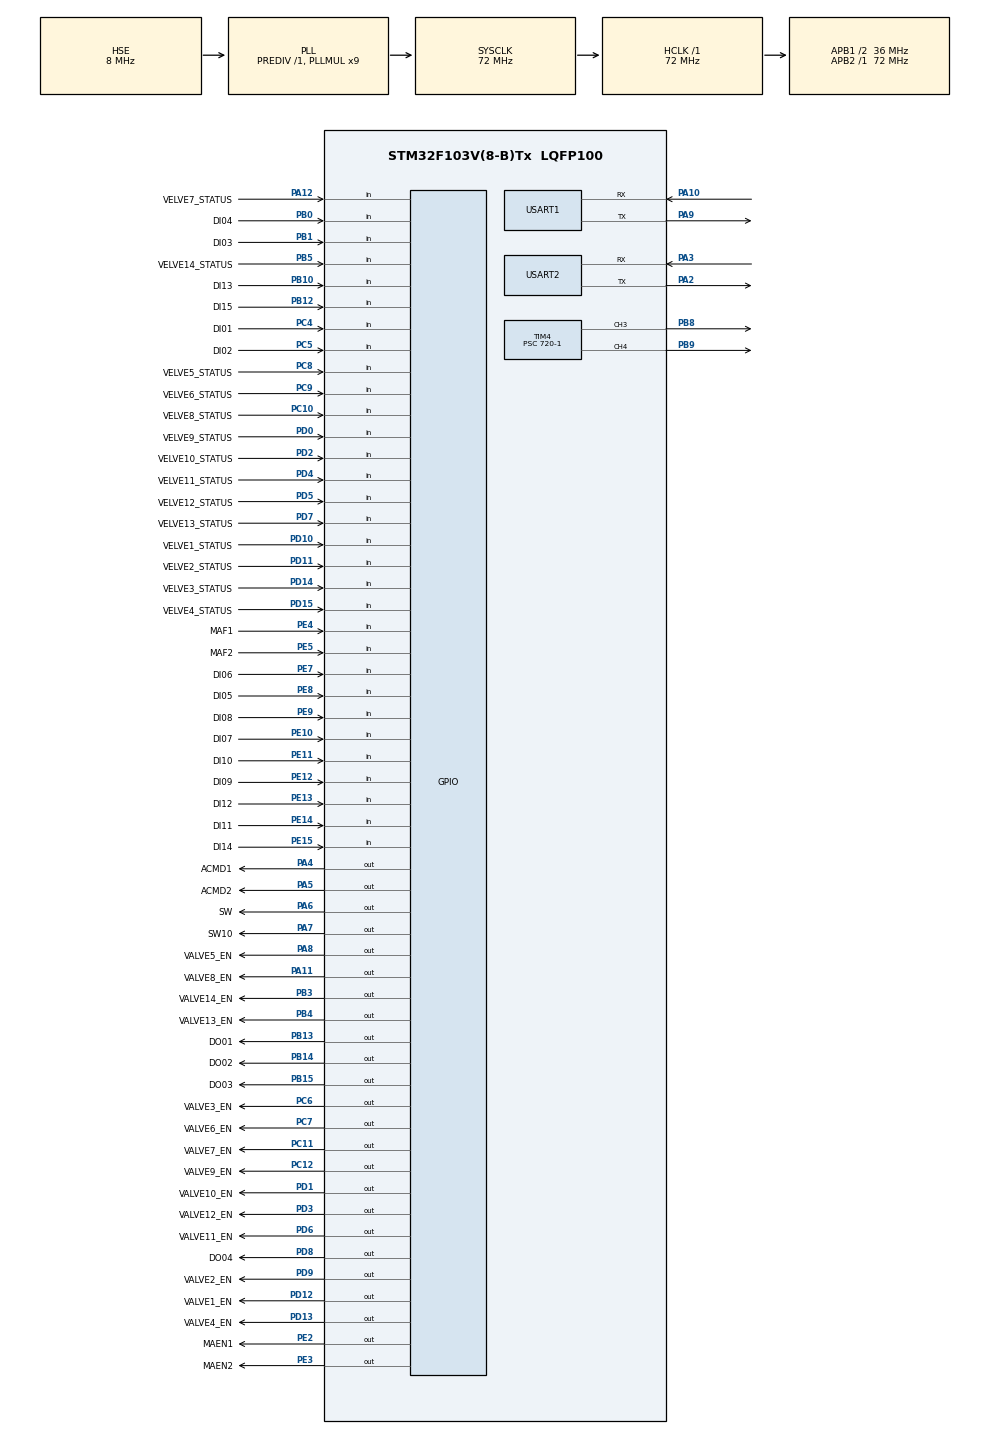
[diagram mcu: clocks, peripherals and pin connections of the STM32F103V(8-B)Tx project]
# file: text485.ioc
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Mcu.Family=STM32F1
Mcu.Name=STM32F103V(8-B)Tx
Mcu.Package=LQFP100
NVIC.PriorityGroup=NVIC_PRIORITYGROUP_4
NVIC.USART2_IRQn=true\:0\:0\:false\:false\:true\:true\:true
OSC_IN.Mode=HSE-External-Oscillator
OSC_IN.Signal=RCC_OSC_IN
OSC_OUT.Mode=HSE-External-Oscillator
OSC_OUT.Signal=RCC_OSC_OUT
PA10.Mode=Asynchronous
PA10.Signal=USART1_RX
PA11.GPIO_Label=VALVE8_EN
PA11.PinState=GPIO_PIN_SET
PA11.Signal=GPIO_Output
PA12.GPIO_Label=VELVE7_STATUS
PA12.Signal=GPIO_Input
PA13.Mode=Serial_Wire
PA13.Signal=SYS_JTMS-SWDIO
PA14.Mode=Serial_Wire
PA14.Signal=SYS_JTCK-SWCLK
PA2.Mode=Asynchronous
PA2.Signal=USART2_TX
PA3.Mode=Asynchronous
PA3.Signal=USART2_RX
PA4.GPIO_Label=ACMD1
PA4.PinState=GPIO_PIN_SET
PA4.Signal=GPIO_Output
PA5.GPIO_Label=ACMD2
PA5.PinState=GPIO_PIN_SET
PA5.Signal=GPIO_Output
PA6.GPIO_Label=SW
PA6.PinState=GPIO_PIN_SET
PA6.Signal=GPIO_Output
PA7.GPIO_Label=SW10
PA7.PinState=GPIO_PIN_SET
PA7.Signal=GPIO_Output
PA8.GPIO_Label=VALVE5_EN
PA8.PinState=GPIO_PIN_SET
PA8.Signal=GPIO_Output
PA9.Mode=Asynchronous
PA9.Signal=USART1_TX
PB0.GPIO_Label=DI04
PB0.Signal=GPIO_Input
PB1.GPIO_Label=DI03
PB1.Signal=GPIO_Input
PB10.GPIO_Label=DI13
PB10.GPIO_PuPd=GPIO_NOPULL
PB10.Signal=GPIO_Input
PB12.GPIO_Label=DI15
PB12.Signal=GPIO_Input
PB13.GPIO_Label=DO01
PB13.PinState=GPIO_PIN_SET
PB13.Signal=GPIO_Output
PB14.GPIO_Label=DO02
PB14.PinState=GPIO_PIN_SET
PB14.Signal=GPIO_Output
PB15.GPIO_Label=DO03
PB15.PinState=GPIO_PIN_SET
PB15.Signal=GPIO_Output
PB3.GPIO_Label=VALVE14_EN
PB3.PinState=GPIO_PIN_SET
PB3.Signal=GPIO_Output
PB4.GPIO_Label=VALVE13_EN
PB4.PinState=GPIO_PIN_SET
PB4.Signal=GPIO_Output
PB5.GPIO_Label=VELVE14_STATUS
PB5.Signal=GPIO_Input
PB8.Signal=S_TIM4_CH3
PB9.Signal=S_TIM4_CH4
PC10.GPIO_Label=VELVE8_STATUS
PC10.Signal=GPIO_Input
PC11.GPIO_Label=VALVE7_EN
PC11.PinState=GPIO_PIN_SET
PC11.Signal=GPIO_Output
PC12.GPIO_Label=VALVE9_EN
PC12.PinState=GPIO_PIN_SET
PC12.Signal=GPIO_Output
PC4.GPIO_Label=DI01
PC4.Signal=GPIO_Input
PC5.GPIO_Label=DI02
PC5.Signal=GPIO_Input
PC6.GPIO_Label=VALVE3_EN
PC6.PinState=GPIO_PIN_SET
PC6.Signal=GPIO_Output
PC7.GPIO_Label=VALVE6_EN
PC7.PinState=GPIO_PIN_SET
PC7.Signal=GPIO_Output
PC8.GPIO_Label=VELVE5_STATUS
PC8.Signal=GPIO_Input
PC9.GPIO_Label=VELVE6_STATUS
PC9.Signal=GPIO_Input
PD0.GPIO_Label=VELVE9_STATUS
PD0.Signal=GPIO_Input
PD1.GPIO_Label=VALVE10_EN
PD1.PinState=GPIO_PIN_SET
PD1.Signal=GPIO_Output
PD10.GPIO_Label=VELVE1_STATUS
PD10.Signal=GPIO_Input
PD11.GPIO_Label=VELVE2_STATUS
PD11.Signal=GPIO_Input
PD12.GPIO_Label=VALVE1_EN
PD12.GPIO_ModeDefaultOutputPP=GPIO_MODE_OUTPUT_PP
PD12.PinState=GPIO_PIN_SET
PD12.Signal=GPIO_Output
PD13.GPIO_Label=VALVE4_EN
PD13.PinState=GPIO_PIN_SET
PD13.Signal=GPIO_Output
PD14.GPIO_Label=VELVE3_STATUS
PD14.Signal=GPIO_Input
PD15.GPIO_Label=VELVE4_STATUS
PD15.Signal=GPIO_Input
PD2.GPIO_Label=VELVE10_STATUS
PD2.Signal=GPIO_Input
PD3.GPIO_Label=VALVE12_EN
PD3.PinState=GPIO_PIN_SET
PD3.Signal=GPIO_Output
PD4.GPIO_Label=VELVE11_STATUS
PD4.Signal=GPIO_Input
PD5.GPIO_Label=VELVE12_STATUS
PD5.Signal=GPIO_Input
PD6.GPIO_Label=VALVE11_EN
PD6.PinState=GPIO_PIN_SET
PD6.Signal=GPIO_Output
PD7.GPIO_Label=VELVE13_STATUS
PD7.Signal=GPIO_Input
PD8.GPIO_Label=DO04
PD8.PinState=GPIO_PIN_SET
PD8.Signal=GPIO_Output
PD9.GPIO_Label=VALVE2_EN
PD9.PinState=GPIO_PIN_SET
PD9.Signal=GPIO_Output
PE10.GPIO_Label=DI07
PE10.Signal=GPIO_Input
PE11.GPIO_Label=DI10
PE11.Signal=GPIO_Input
PE12.GPIO_Label=DI09
PE12.Signal=GPIO_Input
PE13.GPIO_Label=DI12
PE13.Signal=GPIO_Input
PE14.GPIO_Label=DI11
PE14.Signal=GPIO_Input
PE15.GPIO_Label=DI14
PE15.Signal=GPIO_Input
PE2.GPIO_Label=MAEN1
PE2.PinState=GPIO_PIN_SET
PE2.Signal=GPIO_Output
PE3.GPIO_Label=MAEN2
PE3.PinState=GPIO_PIN_SET
PE3.Signal=GPIO_Output
PE4.GPIO_Label=MAF1
PE4.Signal=GPIO_Input
PE5.GPIO_Label=MAF2
PE5.Signal=GPIO_Input
PE7.GPIO_Label=DI06
PE7.Signal=GPIO_Input
PE8.GPIO_Label=DI05
PE8.Signal=GPIO_Input
PE9.GPIO_Label=DI08
PE9.Signal=GPIO_Input
ProjectManager.HeapSize=0x200
ProjectManager.StackSize=0x400
ProjectManager.TargetToolchain=MDK-ARM V5.27
RCC.AHBFreq_Value=72000000
RCC.APB1CLKDivider=RCC_HCLK_DIV2
RCC.APB1Freq_Value=36000000
RCC.APB1TimFreq_Value=72000000
RCC.APB2Freq_Value=72000000
RCC.APB2TimFreq_Value=72000000
RCC.HCLKFreq_Value=72000000
RCC.PLLMUL=RCC_PLL_MUL9
RCC.PLLSourceVirtual=RCC_PLLSOURCE_HSE
RCC.SYSCLKFreq_VALUE=72000000
RCC.SYSCLKSource=RCC_SYSCLKSOURCE_PLLCLK
RCC.TimSys_Div=SYSTICK_CLKSOURCE_HCLK_DIV8
RCC.USBFreq_Value=72000000
SH.S_TIM4_CH3.0=TIM4_CH3,PWM Generation3 CH3
SH.S_TIM4_CH4.0=TIM4_CH4,PWM Generation4 CH4
TIM4.Channel-PWM\ Generation3\ CH3=TIM_CHANNEL_3
TIM4.Channel-PWM\ Generation4\ CH4=TIM_CHANNEL_4
TIM4.OC3Preload_PWM=DISABLE
TIM4.OC4Preload_PWM=DISABLE
TIM4.Period=2000-1
TIM4.Prescaler=720-1
USART1.VirtualMode=VM_ASYNC
USART2.VirtualMode=VM_ASYNC
board=custom

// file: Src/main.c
/* USER CODE BEGIN Header */
/**
  ******************************************************************************
  * @file           : main.c
  * @brief          : Main program body
  ******************************************************************************
  * @attention
  *
  * <h2><center>&copy; Copyright (c) 2020 STMicroelectronics.
  * All rights reserved.</center></h2>
  *
  * This software component is licensed by ST under BSD 3-Clause license,
  * the "License"; You may not use this file except in compliance with the
  * License. You may obtain a copy of the License at:
  *                        opensource.org/licenses/BSD-3-Clause
  *
  ******************************************************************************
  */
/* USER CODE END Header */

#include "main.h"

/* USER CODE BEGIN Includes */
#include <stdio.h>
#include "string.h"
#include "control.h"

#include "stdlib.h"

/* USER CODE END Includes */

TIM_HandleTypeDef htim4;

UART_HandleTypeDef huart1;
UART_HandleTypeDef huart2;

void SystemClock_Config(void);
static void MX_GPIO_Init(void);
static void MX_USART1_UART_Init(void);
static void MX_USART2_UART_Init(void);
static void MX_TIM4_Init(void);

/* USER CODE BEGIN 0 */
#ifdef _GNUC_
/* With  GCC/RAISONANCE,small printf(option LD Linker ->Libraries -> Small printf
	set to 'Yes')calls _io putchar() */
#define PUTCHAR_PROTOTYPE int _io_putchar(int ch)
#else
#define PUTCHAR_PROTOTYPE int fputc(int ch, FILE *f)
#endif /* _GNUC_ */

/* implementation of fputc  */
PUTCHAR_PROTOTYPE {
    HAL_UART_Transmit(&huart1, (uint8_t *) &ch, 1, 0xffff);
    return ch;
}

//定义Uart2的变量

uint8_t UartRxData;				  //接受一个字节数据
char UartRxBuf[128];			  //接收一个128字节的数组
uint8_t UartRxCount =0;			//接收计数位
_Bool UartRxFlag;				    //接收标志位

uint8_t UartTxNum =1;				//485发送值为1，默认处于接收状态
char *g_cNum =NULL;
int res;                    //返回指令信号
uint8_t stares =1;					//获得的一个状态值用485发送
int num, wnum, onum;
uint8_t port;								//DI端口号
int flag;

/* USER CODE END 0 */

int main(void)
{

    /* MCU Configuration--------------------------------------------------------*/

    /* Reset of all peripherals, Initializes the Flash interface and the Systick. */
    HAL_Init();

    /* USER CODE BEGIN Init */
    int value =0;
    int p_value =0;

    /* USER CODE END Init */

    /* Configure the system clock */
    SystemClock_Config();

    /* Initialize all configured peripherals */
    MX_GPIO_Init();
    MX_USART1_UART_Init();
    MX_USART2_UART_Init();
    MX_TIM4_Init();
    /* USER CODE BEGIN 2 */

    //使能Uart2的中断使能，并在中断使能后产生中断
    HAL_UART_Receive_IT(&huart2, &UartRxData, 1);
    HAL_Delay(50);
    //接收模式
    HAL_UART_Transmit(&huart2, &UartTxNum, 1, 10);
    printf("hello\r\n");

    /* USER CODE END 2 */

    /* Infinite loop */
    while (1)
    {

        /* USER CODE BEGIN 3 */
        value = getGpioFun();									//查询检测io口

        if((value & 0xffff0000) != 0x7fff)
        {
            int i =0;

            value = ~(value & 0x7fff);					//取出IO口的值
            if(p_value != value)								//防止重复执行发送
            {
                p_value = value;
                for(i=0; i<15; i++)
                {
                    if(!(value & (0x01 << i)))
                    {
                        port++;
                    }
                    else
                    {
                        port = ((port+1) << 4) | 0x0d;
                        printf("0x%x\r\n", port);
                        HAL_UART_Transmit(&huart2, &port, 1, 0xffff);				//用485发送io口的返回值
                        port =0;
                        value =0;
//						HAL_UART_Transmit(&huart2, &UartTxNum, 1, 0xffff);
                        break;
                    }
                }
            }
        }
        port  =0;
        value =0;

        if(UartRxFlag == 1 && *UartRxBuf)						//打印485接收到的信息内容
        {
            MX_GPIO_Init();							//重置端口
            HAL_Delay(100);

            float revalue =0.0;
            onum =atoi(UartRxBuf);
            num  =((onum >> 4) & 0x1f);
            wnum =(onum & 0xf);
            res =ControlAgreement(UartRxBuf, g_cNum);			//控制协议，判断是否命令存在
            printf("%d\r\n", res);
            if(((res < 14) && (res > 0)) || (res == 0))   //调用命令对应的端口使能或动作
            {
                stares =SectionFun(res);
                HAL_UART_Transmit(&huart2, &stares, 1, 0xffff);				//用485发送返回值
//				HAL_UART_Transmit(&huart2, &UartTxNum, 1, 0xffff);
            }
            else if((res > 13) && (res < 22))																				//其他端口的控制
            {
                DoFun(res);
            }
            //判断进入pwm的模式
            else if(((onum >> 9) & 0x1) && (((onum >> 10) & 0x3) == 0x1 || ((onum >> 10) & 0x3) == 0x2) && \
                    (((num < 20) || ((num == 20) && (wnum == 0))) && ((num > 4) || ((num == 4) && (wnum == 0)))))
            {
                if((wnum > -1) && (wnum < 10))												//小数点的判断  1位小数位
                {
                    revalue = num + ((float)wnum / 10.0);								//构造数值
                    if(((onum >> 10) & 0x3) == 0x1)											//判断是哪一路的PWM   第一路PWM
                    {
                        num =500.0- revalue * 20.0;								//计算PWM占空比，输出使能
                        ControlPwm1(num);
                    }
                    else																								//第二路PWM
                    {
                        num =500.0- revalue * 20.0;								//计算PWM占空比，输出使能
                        ControlPwm2(num);
                    }
                }
            }
            else
            {
                printf("no command\r\n");
            }

            memset(UartRxBuf, 0, 128);         		//清除buffer内的内容
            UartRxCount =0;							//清除计数值和标志位
            UartRxFlag  =0;
            stares =1;
        }
    }
    /* USER CODE END 3 */
}

void SystemClock_Config(void)
{
    RCC_OscInitTypeDef RCC_OscInitStruct = {0};
    RCC_ClkInitTypeDef RCC_ClkInitStruct = {0};

    /** Initializes the CPU, AHB and APB busses clocks
    */
    RCC_OscInitStruct.OscillatorType = RCC_OSCILLATORTYPE_HSE;
    RCC_OscInitStruct.HSEState = RCC_HSE_ON;
    RCC_OscInitStruct.HSEPredivValue = RCC_HSE_PREDIV_DIV1;
    RCC_OscInitStruct.HSIState = RCC_HSI_ON;
    RCC_OscInitStruct.PLL.PLLState = RCC_PLL_ON;
    RCC_OscInitStruct.PLL.PLLSource = RCC_PLLSOURCE_HSE;
    RCC_OscInitStruct.PLL.PLLMUL = RCC_PLL_MUL9;
    if (HAL_RCC_OscConfig(&RCC_OscInitStruct) != HAL_OK)
    {
        Error_Handler();
    }
    /** Initializes the CPU, AHB and APB busses clocks
    */
    RCC_ClkInitStruct.ClockType = RCC_CLOCKTYPE_HCLK|RCC_CLOCKTYPE_SYSCLK
                                  |RCC_CLOCKTYPE_PCLK1|RCC_CLOCKTYPE_PCLK2;
    RCC_ClkInitStruct.SYSCLKSource = RCC_SYSCLKSOURCE_PLLCLK;
    RCC_ClkInitStruct.AHBCLKDivider = RCC_SYSCLK_DIV1;
    RCC_ClkInitStruct.APB1CLKDivider = RCC_HCLK_DIV2;
    RCC_ClkInitStruct.APB2CLKDivider = RCC_HCLK_DIV1;

    if (HAL_RCC_ClockConfig(&RCC_ClkInitStruct, FLASH_LATENCY_2) != HAL_OK)
    {
        Error_Handler();
    }
}

static void MX_TIM4_Init(void)
{

    TIM_MasterConfigTypeDef sMasterConfig = {0};
    TIM_OC_InitTypeDef sConfigOC = {0};

    htim4.Instance = TIM4;
    htim4.Init.Prescaler = 720-1;
    htim4.Init.CounterMode = TIM_COUNTERMODE_UP;
    htim4.Init.Period = 500-1;
    htim4.Init.ClockDivision = TIM_CLOCKDIVISION_DIV1;
    htim4.Init.AutoReloadPreload = TIM_AUTORELOAD_PRELOAD_DISABLE;
    if (HAL_TIM_PWM_Init(&htim4) != HAL_OK)
    {
        Error_Handler();
    }
    sMasterConfig.MasterOutputTrigger = TIM_TRGO_RESET;
    sMasterConfig.MasterSlaveMode = TIM_MASTERSLAVEMODE_DISABLE;
    if (HAL_TIMEx_MasterConfigSynchronization(&htim4, &sMasterConfig) != HAL_OK)
    {
        Error_Handler();
    }
    sConfigOC.OCMode = TIM_OCMODE_PWM1;
    sConfigOC.Pulse = 0;
    sConfigOC.OCPolarity = TIM_OCPOLARITY_HIGH;
    sConfigOC.OCFastMode = TIM_OCFAST_DISABLE;
    if (HAL_TIM_PWM_ConfigChannel(&htim4, &sConfigOC, TIM_CHANNEL_3) != HAL_OK)
    {
        Error_Handler();
    }
    __HAL_TIM_DISABLE_OCxPRELOAD(&htim4, TIM_CHANNEL_3);
    if (HAL_TIM_PWM_ConfigChannel(&htim4, &sConfigOC, TIM_CHANNEL_4) != HAL_OK)
    {
        Error_Handler();
    }
    __HAL_TIM_DISABLE_OCxPRELOAD(&htim4, TIM_CHANNEL_4);
    HAL_TIM_MspPostInit(&htim4);

}

static void MX_USART1_UART_Init(void)
{

    huart1.Instance = USART1;
    huart1.Init.BaudRate = 115200;
    huart1.Init.WordLength = UART_WORDLENGTH_8B;
    huart1.Init.StopBits = UART_STOPBITS_1;
    huart1.Init.Parity = UART_PARITY_NONE;
    huart1.Init.Mode = UART_MODE_TX_RX;
    huart1.Init.HwFlowCtl = UART_HWCONTROL_NONE;
    huart1.Init.OverSampling = UART_OVERSAMPLING_16;
    if (HAL_UART_Init(&huart1) != HAL_OK)
    {
        Error_Handler();
    }

}

static void MX_USART2_UART_Init(void)
{

    huart2.Instance = USART2;
    huart2.Init.BaudRate = 115200;
    huart2.Init.WordLength = UART_WORDLENGTH_8B;
    huart2.Init.StopBits = UART_STOPBITS_1;
    huart2.Init.Parity = UART_PARITY_NONE;
    huart2.Init.Mode = UART_MODE_TX_RX;
    huart2.Init.HwFlowCtl = UART_HWCONTROL_NONE;
    huart2.Init.OverSampling = UART_OVERSAMPLING_16;
    if (HAL_UART_Init(&huart2) != HAL_OK)
    {
        Error_Handler();
    }

}

static void MX_GPIO_Init(void)
{
    GPIO_InitTypeDef GPIO_InitStruct = {0};

    /* GPIO Ports Clock Enable */
    __HAL_RCC_GPIOE_CLK_ENABLE();
    __HAL_RCC_GPIOA_CLK_ENABLE();
    __HAL_RCC_GPIOC_CLK_ENABLE();
    __HAL_RCC_GPIOB_CLK_ENABLE();
    __HAL_RCC_GPIOD_CLK_ENABLE();

    /*Configure GPIO pin Output Level */
    HAL_GPIO_WritePin(GPIOE, MAEN1_Pin|MAEN2_Pin, GPIO_PIN_SET);

    /*Configure GPIO pin Output Level */
    HAL_GPIO_WritePin(GPIOA, ACMD1_Pin|ACMD2_Pin|SW_Pin|SW10_Pin
                      |VALVE5_EN_Pin|VALVE8_EN_Pin, GPIO_PIN_SET);

    /*Configure GPIO pin Output Level */
    HAL_GPIO_WritePin(GPIOB, DO01_Pin|DO02_Pin|DO03_Pin|VALVE14_EN_Pin
                      |VALVE13_EN_Pin, GPIO_PIN_SET);

    /*Configure GPIO pin Output Level */
    HAL_GPIO_WritePin(GPIOD, DO04_Pin|VALVE2_EN_Pin|VALVE1_EN_Pin|VALVE4_EN_Pin
                      |VALVE10_EN_Pin|VALVE12_EN_Pin|VALVE11_EN_Pin, GPIO_PIN_SET);

    /*Configure GPIO pin Output Level */
    HAL_GPIO_WritePin(GPIOC, VALVE3_EN_Pin|VALVE6_EN_Pin|VALVE7_EN_Pin|VALVE9_EN_Pin, GPIO_PIN_SET);

    /*Configure GPIO pins : MAEN1_Pin MAEN2_Pin */
    GPIO_InitStruct.Pin = MAEN1_Pin|MAEN2_Pin;
    GPIO_InitStruct.Mode = GPIO_MODE_OUTPUT_PP;
    GPIO_InitStruct.Pull = GPIO_NOPULL;
    GPIO_InitStruct.Speed = GPIO_SPEED_FREQ_LOW;
    HAL_GPIO_Init(GPIOE, &GPIO_InitStruct);

    /*Configure GPIO pins : MAF1_Pin MAF2_Pin DI06_Pin DI05_Pin
                             DI08_Pin DI07_Pin DI10_Pin DI09_Pin
                             DI12_Pin DI11_Pin DI14_Pin */
    GPIO_InitStruct.Pin = MAF1_Pin|MAF2_Pin|DI06_Pin|DI05_Pin
                          |DI08_Pin|DI07_Pin|DI10_Pin|DI09_Pin
                          |DI12_Pin|DI11_Pin|DI14_Pin;
    GPIO_InitStruct.Mode = GPIO_MODE_INPUT;
    GPIO_InitStruct.Pull = GPIO_NOPULL;
    HAL_GPIO_Init(GPIOE, &GPIO_InitStruct);

    /*Configure GPIO pins : ACMD1_Pin ACMD2_Pin SW_Pin SW10_Pin
                             VALVE5_EN_Pin VALVE8_EN_Pin */
    GPIO_InitStruct.Pin = ACMD1_Pin|ACMD2_Pin|SW_Pin|SW10_Pin
                          |VALVE5_EN_Pin|VALVE8_EN_Pin;
    GPIO_InitStruct.Mode = GPIO_MODE_OUTPUT_PP;
    GPIO_InitStruct.Pull = GPIO_NOPULL;
    GPIO_InitStruct.Speed = GPIO_SPEED_FREQ_LOW;
    HAL_GPIO_Init(GPIOA, &GPIO_InitStruct);

    /*Configure GPIO pins : DI01_Pin DI02_Pin VELVE5_STATUS_Pin VELVE6_STATUS_Pin
                             VELVE8_STATUS_Pin */
    GPIO_InitStruct.Pin = DI01_Pin|DI02_Pin|VELVE5_STATUS_Pin|VELVE6_STATUS_Pin
                          |VELVE8_STATUS_Pin;
    GPIO_InitStruct.Mode = GPIO_MODE_INPUT;
    GPIO_InitStruct.Pull = GPIO_NOPULL;
    HAL_GPIO_Init(GPIOC, &GPIO_InitStruct);

    /*Configure GPIO pins : DI04_Pin DI03_Pin DI13_Pin DI15_Pin
                             VELVE14_STATUS_Pin */
    GPIO_InitStruct.Pin = DI04_Pin|DI03_Pin|DI13_Pin|DI15_Pin
                          |VELVE14_STATUS_Pin;
    GPIO_InitStruct.Mode = GPIO_MODE_INPUT;
    GPIO_InitStruct.Pull = GPIO_NOPULL;
    HAL_GPIO_Init(GPIOB, &GPIO_InitStruct);

    /*Configure GPIO pins : DO01_Pin DO02_Pin DO03_Pin VALVE14_EN_Pin
                             VALVE13_EN_Pin */
    GPIO_InitStruct.Pin = DO01_Pin|DO02_Pin|DO03_Pin|VALVE14_EN_Pin
                          |VALVE13_EN_Pin;
    GPIO_InitStruct.Mode = GPIO_MODE_OUTPUT_PP;
    GPIO_InitStruct.Pull = GPIO_NOPULL;
    GPIO_InitStruct.Speed = GPIO_SPEED_FREQ_LOW;
    HAL_GPIO_Init(GPIOB, &GPIO_InitStruct);

    /*Configure GPIO pins : DO04_Pin VALVE2_EN_Pin VALVE1_EN_Pin VALVE4_EN_Pin
                             VALVE10_EN_Pin VALVE12_EN_Pin VALVE11_EN_Pin */
    GPIO_InitStruct.Pin = DO04_Pin|VALVE2_EN_Pin|VALVE1_EN_Pin|VALVE4_EN_Pin
                          |VALVE10_EN_Pin|VALVE12_EN_Pin|VALVE11_EN_Pin;
    GPIO_InitStruct.Mode = GPIO_MODE_OUTPUT_PP;
    GPIO_InitStruct.Pull = GPIO_NOPULL;
    GPIO_InitStruct.Speed = GPIO_SPEED_FREQ_LOW;
    HAL_GPIO_Init(GPIOD, &GPIO_InitStruct);

    /*Configure GPIO pins : VELVE1_STATUS_Pin VELVE2_STATUS_Pin VELVE3_STATUS_Pin VELVE4_STATUS_Pin
                             VELVE9_STATUS_Pin VELVE10_STATUS_Pin VELVE11_STATUS_Pin VELVE12_STATUS_Pin
                             VELVE13_STATUS_Pin */
    GPIO_InitStruct.Pin = VELVE1_STATUS_Pin|VELVE2_STATUS_Pin|VELVE3_STATUS_Pin|VELVE4_STATUS_Pin
                          |VELVE9_STATUS_Pin|VELVE10_STATUS_Pin|VELVE11_STATUS_Pin|VELVE12_STATUS_Pin
                          |VELVE13_STATUS_Pin;
    GPIO_InitStruct.Mode = GPIO_MODE_INPUT;
    GPIO_InitStruct.Pull = GPIO_NOPULL;
    HAL_GPIO_Init(GPIOD, &GPIO_InitStruct);

    /*Configure GPIO pins : VALVE3_EN_Pin VALVE6_EN_Pin VALVE7_EN_Pin VALVE9_EN_Pin */
    GPIO_InitStruct.Pin = VALVE3_EN_Pin|VALVE6_EN_Pin|VALVE7_EN_Pin|VALVE9_EN_Pin;
    GPIO_InitStruct.Mode = GPIO_MODE_OUTPUT_PP;
    GPIO_InitStruct.Pull = GPIO_NOPULL;
    GPIO_InitStruct.Speed = GPIO_SPEED_FREQ_LOW;
    HAL_GPIO_Init(GPIOC, &GPIO_InitStruct);

    /*Configure GPIO pin : VELVE7_STATUS_Pin */
    GPIO_InitStruct.Pin = VELVE7_STATUS_Pin;
    GPIO_InitStruct.Mode = GPIO_MODE_INPUT;
    GPIO_InitStruct.Pull = GPIO_NOPULL;
    HAL_GPIO_Init(VELVE7_STATUS_GPIO_Port, &GPIO_InitStruct);

}

/* USER CODE BEGIN 4 */

//Uart2的接受回调函数
void HAL_UART_RxCpltCallback(UART_HandleTypeDef *huart)
{
    if(huart == &huart2)								//判断是否为Uart2接收中断
    {
        UartRxBuf[UartRxCount++] = UartRxData;			//接收到的一个字节的数据存放在buf中
        if(UartRxBuf[UartRxCount-1] == 0)		//存到结束符
        {
            UartRxFlag = 1;								//置位结束标志位
        }
        HAL_UART_Receive_IT(&huart2, &UartRxData, 1);	//重新开启接收中断
    }
}

/* USER CODE END 4 */

void Error_Handler(void)
{
}

/************************ (C) COPYRIGHT STMicroelectronics *****END OF FILE****/
